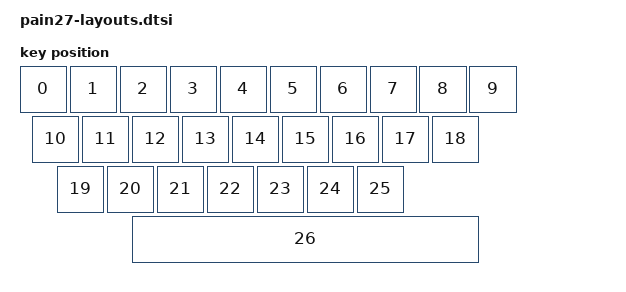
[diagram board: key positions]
#include <physical_layouts.dtsi>

/ {
    layout_pain27: layout_pain27 {
        compatible = "zmk,physical-layout";
        display-name = "Pain27";
        transform = <&default_transform>;
        kscan = <&kscan0>;
        keys  //                       w   h    x    y     rot    rx    ry
            = <&key_physical_attrs 100 100    0    0       0     0     0>
            , <&key_physical_attrs 100 100  100    0       0     0     0>
            , <&key_physical_attrs 100 100  200    0       0     0     0>
            , <&key_physical_attrs 100 100  300    0       0     0     0>
            , <&key_physical_attrs 100 100  400    0       0     0     0>
            , <&key_physical_attrs 100 100  500    0       0     0     0>
            , <&key_physical_attrs 100 100  600    0       0     0     0>
            , <&key_physical_attrs 100 100  700    0       0     0     0>
            , <&key_physical_attrs 100 100  800    0       0     0     0>
            , <&key_physical_attrs 100 100  900    0       0     0     0>

            , <&key_physical_attrs 100 100   25  100       0     0     0>
            , <&key_physical_attrs 100 100  125  100       0     0     0>
            , <&key_physical_attrs 100 100  225  100       0     0     0>
            , <&key_physical_attrs 100 100  325  100       0     0     0>
            , <&key_physical_attrs 100 100  425  100       0     0     0>
            , <&key_physical_attrs 100 100  525  100       0     0     0>
            , <&key_physical_attrs 100 100  625  100       0     0     0>
            , <&key_physical_attrs 100 100  725  100       0     0     0>
            , <&key_physical_attrs 100 100  825  100       0     0     0>

            , <&key_physical_attrs 100 100   75  200       0     0     0>
            , <&key_physical_attrs 100 100  175  200       0     0     0>
            , <&key_physical_attrs 100 100  275  200       0     0     0>
            , <&key_physical_attrs 100 100  375  200       0     0     0>
            , <&key_physical_attrs 100 100  475  200       0     0     0>
            , <&key_physical_attrs 100 100  575  200       0     0     0>
            , <&key_physical_attrs 100 100  675  200       0     0     0>

            , <&key_physical_attrs 700 100  225  300       0     0     0>
            ;
    };
};
